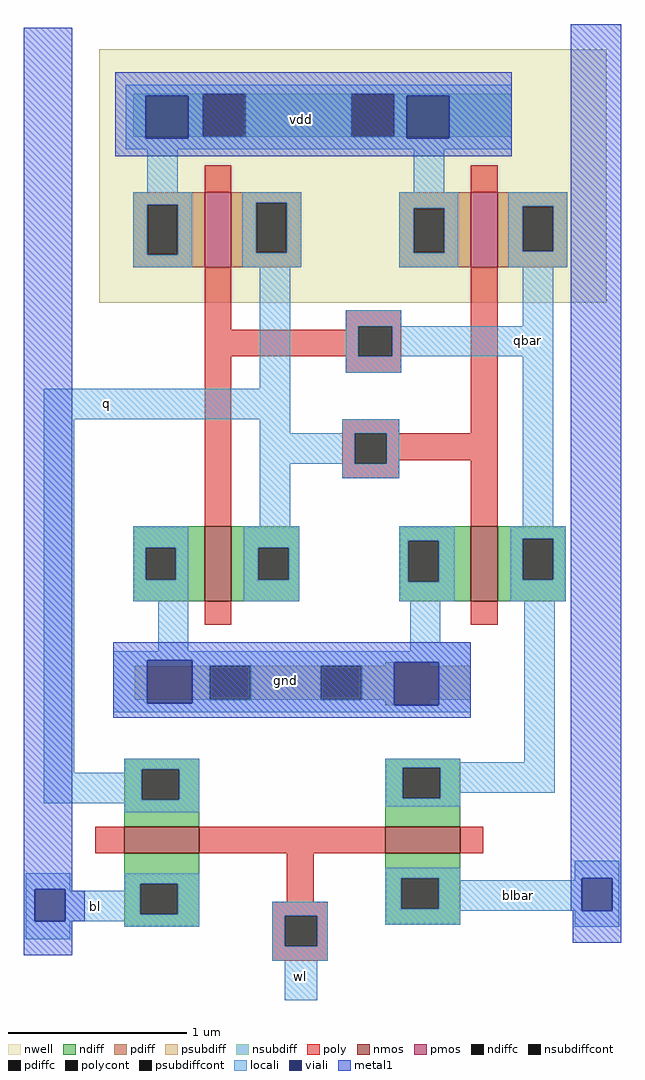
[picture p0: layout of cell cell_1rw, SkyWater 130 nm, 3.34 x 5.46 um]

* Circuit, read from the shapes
.subckt cell_1rw bl blbar gnd q qbar vdd wl
XM1 q wl bl gnd sky130_fd_pr__nfet_01v8 w=0.42 l=0.15
XM2 q qbar gnd gnd sky130_fd_pr__nfet_01v8 w=0.42 l=0.15
XM3 qbar wl blbar gnd sky130_fd_pr__nfet_01v8 w=0.42 l=0.15
XM4 qbar q gnd gnd sky130_fd_pr__nfet_01v8 w=0.42 l=0.15
XM5 q qbar vdd vdd sky130_fd_pr__pfet_01v8 w=0.42 l=0.15
XM6 qbar q vdd vdd sky130_fd_pr__pfet_01v8 w=0.42 l=0.15
.ends

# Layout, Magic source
magic
tech sky130A
<< nwell >>
rect 559 177 843 319
<< nmos >>
rect 618 10 633 52
rect 767 10 782 52
rect 573 -131 615 -116
rect 719 -131 761 -116
<< pmos >>
rect 618 197 633 239
rect 767 197 782 239
<< ndiff >>
rect 578 40 618 52
rect 578 22 585 40
rect 602 22 618 40
rect 578 10 618 22
rect 633 40 671 52
rect 633 22 648 40
rect 665 22 671 40
rect 633 10 671 22
rect 727 44 767 52
rect 727 21 732 44
rect 749 21 767 44
rect 727 10 767 21
rect 782 45 820 52
rect 782 22 796 45
rect 813 22 820 45
rect 782 10 820 22
rect 573 -84 615 -78
rect 573 -101 583 -84
rect 604 -101 615 -84
rect 573 -116 615 -101
rect 719 -83 761 -78
rect 719 -100 729 -83
rect 750 -100 761 -83
rect 719 -116 761 -100
rect 573 -148 615 -131
rect 573 -165 582 -148
rect 603 -165 615 -148
rect 719 -145 761 -131
rect 573 -172 615 -165
rect 719 -162 728 -145
rect 749 -162 761 -145
rect 719 -171 761 -162
<< pdiff >>
rect 578 232 618 239
rect 578 204 586 232
rect 603 204 618 232
rect 578 197 618 204
rect 633 233 672 239
rect 633 205 647 233
rect 664 205 672 233
rect 633 197 672 205
rect 727 230 767 239
rect 727 205 735 230
rect 752 205 767 230
rect 727 197 767 205
rect 782 231 821 239
rect 782 206 796 231
rect 813 206 821 231
rect 782 197 821 206
<< ndiffc >>
rect 585 22 602 40
rect 648 22 665 40
rect 732 21 749 44
rect 796 22 813 45
rect 583 -101 604 -84
rect 729 -100 750 -83
rect 582 -165 603 -148
rect 728 -162 749 -145
<< pdiffc >>
rect 586 204 603 232
rect 647 205 664 233
rect 735 205 752 230
rect 796 206 813 231
<< psubdiff >>
rect 719 -26 744 -24
rect 579 -45 621 -26
rect 644 -45 683 -26
rect 706 -45 767 -26
rect 719 -48 744 -45
<< nsubdiff >>
rect 578 270 617 294
rect 641 270 700 294
rect 724 270 790 294
<< psubdiffcont >>
rect 621 -45 644 -26
rect 683 -45 706 -26
<< nsubdiffcont >>
rect 617 270 641 294
rect 700 270 724 294
<< poly >>
rect 618 239 633 254
rect 767 239 782 254
rect 618 162 633 197
rect 697 164 728 173
rect 697 162 704 164
rect 618 147 704 162
rect 723 147 728 164
rect 618 52 633 147
rect 697 138 728 147
rect 695 104 727 112
rect 767 104 782 197
rect 695 87 702 104
rect 720 89 782 104
rect 720 87 727 89
rect 695 79 727 87
rect 767 52 782 89
rect 618 -3 633 10
rect 767 -3 782 10
rect 557 -131 573 -116
rect 615 -131 719 -116
rect 761 -131 774 -116
rect 664 -158 679 -131
rect 656 -166 687 -158
rect 656 -183 663 -166
rect 681 -183 687 -166
rect 656 -191 687 -183
<< polycont >>
rect 704 147 723 164
rect 702 87 720 104
rect 663 -183 681 -166
<< locali >>
rect 574 294 790 299
rect 574 293 617 294
rect 574 269 585 293
rect 609 270 617 293
rect 641 270 700 294
rect 724 293 790 294
rect 724 270 731 293
rect 609 269 731 270
rect 755 269 790 293
rect 574 263 790 269
rect 586 239 603 263
rect 735 239 752 263
rect 578 232 611 239
rect 578 204 586 232
rect 603 204 611 232
rect 578 197 611 204
rect 639 233 672 239
rect 639 205 647 233
rect 664 205 672 233
rect 639 197 672 205
rect 727 230 760 239
rect 727 205 735 230
rect 752 205 760 230
rect 727 197 760 205
rect 788 231 821 239
rect 788 206 796 231
rect 813 206 821 231
rect 788 197 821 206
rect 649 129 666 197
rect 697 164 728 173
rect 796 164 813 197
rect 697 147 704 164
rect 723 147 813 164
rect 697 138 728 147
rect 528 112 666 129
rect 528 -86 545 112
rect 649 104 666 112
rect 695 104 727 112
rect 649 87 702 104
rect 720 87 727 104
rect 649 52 666 87
rect 695 79 727 87
rect 796 52 813 147
rect 578 40 609 52
rect 578 22 585 40
rect 602 22 609 40
rect 578 10 609 22
rect 640 40 671 52
rect 640 22 648 40
rect 665 22 671 40
rect 640 10 671 22
rect 727 44 758 52
rect 727 21 732 44
rect 749 21 758 44
rect 727 10 758 21
rect 789 45 820 52
rect 789 22 796 45
rect 813 22 820 45
rect 789 10 820 22
rect 592 -18 609 10
rect 733 -13 750 10
rect 733 -18 767 -13
rect 567 -23 767 -18
rect 567 -47 586 -23
rect 611 -24 767 -23
rect 611 -26 724 -24
rect 611 -45 621 -26
rect 644 -45 683 -26
rect 706 -45 724 -26
rect 611 -47 724 -45
rect 567 -48 724 -47
rect 749 -48 767 -24
rect 567 -52 767 -48
rect 573 -84 615 -78
rect 573 -86 583 -84
rect 528 -101 583 -86
rect 604 -101 615 -84
rect 528 -103 615 -101
rect 573 -108 615 -103
rect 719 -80 761 -78
rect 797 -80 814 10
rect 719 -83 814 -80
rect 719 -100 729 -83
rect 750 -97 814 -83
rect 750 -100 761 -97
rect 719 -105 761 -100
rect 518 -151 543 -142
rect 518 -169 523 -151
rect 540 -152 543 -151
rect 573 -148 615 -142
rect 573 -152 582 -148
rect 540 -165 582 -152
rect 603 -165 615 -148
rect 719 -145 761 -139
rect 540 -169 615 -165
rect 518 -179 543 -169
rect 573 -172 615 -169
rect 656 -166 687 -158
rect 656 -183 663 -166
rect 681 -183 687 -166
rect 719 -162 728 -145
rect 749 -146 761 -145
rect 825 -145 850 -135
rect 825 -146 829 -145
rect 749 -162 829 -146
rect 719 -163 829 -162
rect 846 -163 850 -145
rect 719 -171 761 -163
rect 825 -172 850 -163
rect 656 -191 687 -183
rect 663 -213 681 -191
<< viali >>
rect 585 269 609 293
rect 731 269 755 293
rect 586 -47 611 -23
rect 724 -48 749 -24
rect 523 -169 540 -151
rect 829 -163 846 -145
<< metal1 >>
rect 517 -151 544 331
rect 568 293 790 306
rect 568 269 585 293
rect 609 269 731 293
rect 755 269 790 293
rect 568 259 790 269
rect 567 -23 767 -13
rect 567 -47 586 -23
rect 611 -24 767 -23
rect 611 -47 724 -24
rect 567 -48 724 -47
rect 749 -48 767 -24
rect 567 -55 767 -48
rect 517 -169 523 -151
rect 540 -152 544 -151
rect 823 -145 851 333
rect 540 -169 551 -152
rect 823 -163 829 -145
rect 846 -163 851 -145
rect 517 -188 544 -169
rect 824 -181 851 -163
<< labels >>
flabel metal1 645 265 699 294 0 FreeSans 152 0 0 0 vdd
flabel locali 784 149 813 163 0 FreeSans 104 0 0 0 qbar
flabel locali 551 113 575 128 0 FreeSans 104 0 0 0 q
flabel metal1 646 -43 681 -26 0 FreeSans 120 0 0 0 gnd
flabel locali 545 -168 569 -153 0 FreeSans 120 0 0 0 bl
flabel locali 771 -163 816 -146 0 FreeSans 120 0 0 0 blbar
flabel locali 664 -207 679 -193 0 FreeSans 72 0 0 0 wl
<< end >>
